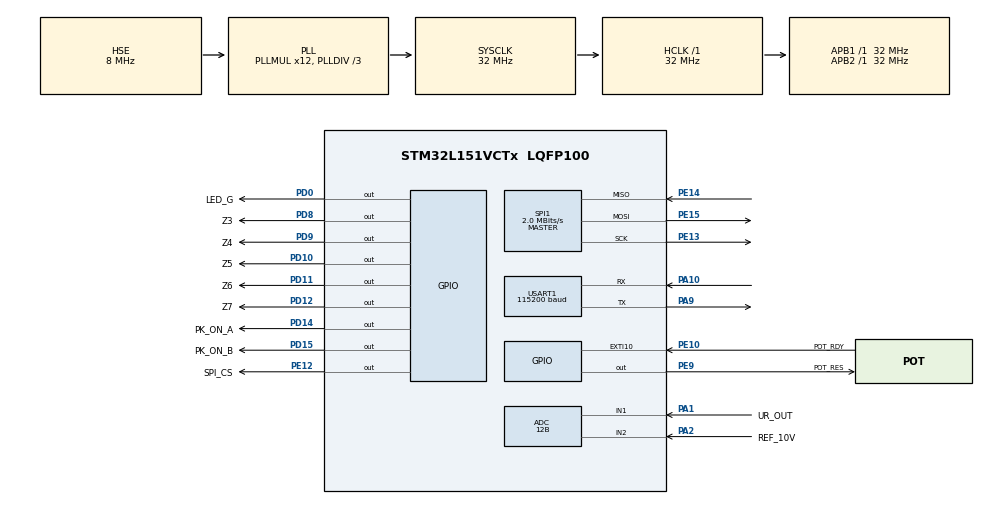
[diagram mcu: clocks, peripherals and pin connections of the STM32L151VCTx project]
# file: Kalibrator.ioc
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ADC.Channel-10\#ChannelRegularConversion=ADC_CHANNEL_2
ADC.Channel-5\#ChannelRegularConversion=ADC_CHANNEL_TEMPSENSOR
ADC.Channel-9\#ChannelRegularConversion=ADC_CHANNEL_1
ADC.ClockPrescaler=ADC_CLOCK_ASYNC_DIV4
ADC.ContinuousConvMode=ENABLE
ADC.DMAContinuousRequests=ENABLE
ADC.DataAlign=ADC_DATAALIGN_RIGHT
ADC.DiscontinuousConvMode=DISABLE
ADC.EOCSelection=ADC_EOC_SEQ_CONV
ADC.EnableAnalogWatchDog=false
ADC.ExternalTrigConv=ADC_SOFTWARE_START
ADC.ExternalTrigConvEdge=ADC_EXTERNALTRIGCONVEDGE_NONE
ADC.InjNumberOfConversion=0
ADC.LowPowerAutoPowerOff=ADC_AUTOPOWEROFF_DISABLE
ADC.LowPowerAutoWait=ADC_AUTOWAIT_DISABLE
ADC.NbrOfConversion=3
ADC.NbrOfConversionFlag=1
ADC.Rank-10\#ChannelRegularConversion=3
ADC.Rank-5\#ChannelRegularConversion=1
ADC.Rank-9\#ChannelRegularConversion=2
ADC.Resolution=ADC_RESOLUTION_12B
ADC.SamplingTime-10\#ChannelRegularConversion=ADC_SAMPLETIME_192CYCLES
ADC.SamplingTime-5\#ChannelRegularConversion=ADC_SAMPLETIME_192CYCLES
ADC.SamplingTime-9\#ChannelRegularConversion=ADC_SAMPLETIME_192CYCLES
ADC.ScanConvMode=ADC_SCAN_ENABLE
Dma.ADC.0.Direction=DMA_PERIPH_TO_MEMORY
Dma.ADC.0.Instance=DMA1_Channel1
Dma.ADC.0.MemDataAlignment=DMA_MDATAALIGN_HALFWORD
Dma.ADC.0.MemInc=DMA_MINC_ENABLE
Dma.ADC.0.Mode=DMA_CIRCULAR
Dma.ADC.0.PeriphDataAlignment=DMA_PDATAALIGN_HALFWORD
Dma.ADC.0.PeriphInc=DMA_PINC_DISABLE
Dma.ADC.0.Priority=DMA_PRIORITY_LOW
Dma.Request0=ADC
Dma.Request1=USART1_RX
Dma.Request2=USART1_TX
Dma.USART1_RX.1.Direction=DMA_PERIPH_TO_MEMORY
Dma.USART1_RX.1.Instance=DMA1_Channel5
Dma.USART1_RX.1.MemDataAlignment=DMA_MDATAALIGN_BYTE
Dma.USART1_RX.1.MemInc=DMA_MINC_ENABLE
Dma.USART1_RX.1.Mode=DMA_CIRCULAR
Dma.USART1_RX.1.PeriphDataAlignment=DMA_PDATAALIGN_BYTE
Dma.USART1_RX.1.PeriphInc=DMA_PINC_DISABLE
Dma.USART1_RX.1.Priority=DMA_PRIORITY_LOW
Dma.USART1_TX.2.Direction=DMA_MEMORY_TO_PERIPH
Dma.USART1_TX.2.Instance=DMA1_Channel4
Dma.USART1_TX.2.MemDataAlignment=DMA_MDATAALIGN_BYTE
Dma.USART1_TX.2.MemInc=DMA_MINC_ENABLE
Dma.USART1_TX.2.Mode=DMA_NORMAL
Dma.USART1_TX.2.PeriphDataAlignment=DMA_PDATAALIGN_BYTE
Dma.USART1_TX.2.PeriphInc=DMA_PINC_DISABLE
Dma.USART1_TX.2.Priority=DMA_PRIORITY_LOW
Mcu.Family=STM32L1
Mcu.Name=STM32L151VCTx
Mcu.Package=LQFP100
NVIC.DMA1_Channel1_IRQn=true\:0\:0\:false\:false\:true
NVIC.DMA1_Channel4_IRQn=true\:0\:0\:false\:false\:true
NVIC.DMA1_Channel5_IRQn=true\:0\:0\:false\:false\:true
NVIC.EXTI15_10_IRQn=true\:0\:0\:false\:false\:true
NVIC.PriorityGroup=NVIC_PRIORITYGROUP_4
NVIC.TIM10_IRQn=true\:0\:0\:false\:false\:true
PA1.GPIO_Label=UR_OUT
PA1.Mode=IN1
PA1.Signal=ADC_IN1
PA10.Mode=Asynchronous
PA10.Signal=USART1_RX
PA13.Mode=JTAG_5_pins
PA13.Signal=SYS_JTMS-SWDIO
PA14.Mode=JTAG_5_pins
PA14.Signal=SYS_JTCK-SWCLK
PA15.Mode=JTAG_5_pins
PA15.Signal=SYS_JTDI
PA2.GPIO_Label=REF_10V
PA2.Mode=IN2
PA2.Signal=ADC_IN2
PA9.Mode=Asynchronous
PA9.Signal=USART1_TX
PB3.Mode=JTAG_5_pins
PB3.Signal=SYS_JTDO-TRACESWO
PB4.Mode=JTAG_5_pins
PB4.Signal=SYS_JTRST
PD0.GPIO_Label=LED_G
PD0.Signal=GPIO_Output
PD10.GPIO_Label=Z5
PD10.Signal=GPIO_Output
PD11.GPIO_Label=Z6
PD11.Signal=GPIO_Output
PD12.GPIO_Label=Z7
PD12.Signal=GPIO_Output
PD14.GPIO_Label=PK_ON_A
PD14.Signal=GPIO_Output
PD15.GPIO_Label=PK_ON_B
PD15.Signal=GPIO_Output
PD8.GPIO_Label=Z3
PD8.Signal=GPIO_Output
PD9.GPIO_Label=Z4
PD9.Signal=GPIO_Output
PE10.GPIO_Label=POT_RDY
PE10.GPIO_ModeDefaultEXTI=GPIO_MODE_IT_FALLING
PE10.GPIO_PuPd=GPIO_NOPULL
PE10.Signal=GPXTI10
PE12.GPIO_Label=SPI_CS
PE12.Signal=GPIO_Output
PE13.Mode=Full_Duplex_Master
PE13.Signal=SPI1_SCK
PE14.Mode=Full_Duplex_Master
PE14.Signal=SPI1_MISO
PE15.Mode=Full_Duplex_Master
PE15.Signal=SPI1_MOSI
PE9.GPIO_Label=POT_RES
PE9.Signal=GPIO_Output
PH0-OSC_IN.Mode=HSE-External-Oscillator
PH0-OSC_IN.Signal=RCC_OSC_IN
PH1-OSC_OUT.Mode=HSE-External-Oscillator
PH1-OSC_OUT.Signal=RCC_OSC_OUT
ProjectManager.HeapSize=0x200
ProjectManager.StackSize=0x400
ProjectManager.TargetToolchain=SW4STM32
RCC.AHBFreq_Value=32000000
RCC.APB1Freq_Value=32000000
RCC.APB1TimFreq_Value=32000000
RCC.APB2Freq_Value=32000000
RCC.APB2TimFreq_Value=32000000
RCC.EnbaleCSS=true
RCC.HCLKFreq_Value=32000000
RCC.HSE_VALUE=8000000
RCC.HSI_VALUE=16000000
RCC.LSE_VALUE=32768
RCC.MSI_VALUE=2097000
RCC.PLLDIV=RCC_PLL_DIV3
RCC.PLLMUL=RCC_PLL_MUL12
RCC.PLLSourceVirtual=RCC_PLLSOURCE_HSE
RCC.SYSCLKFreq_VALUE=32000000
RCC.SYSCLKSource=RCC_SYSCLKSOURCE_PLLCLK
RCC.USBOutput=48000000
RCC.VCOOutputFreq_Value=96000000
SPI1.BaudRatePrescaler=SPI_BAUDRATEPRESCALER_16
SPI1.CalculateBaudRate=2.0 MBits/s
SPI1.Direction=SPI_DIRECTION_2LINES
SPI1.Mode=SPI_MODE_MASTER
SPI1.VirtualType=VM_MASTER
TIM10.Period=1600
TIM10.Prescaler=9999
USART1.BaudRate=115200
USART1.VirtualMode=VM_ASYNC
VP_ADC_TempSens_Input.Mode=IN-TempSens
VP_TIM10_VS_ClockSourceINT.Mode=Internal
board=Kalibrator

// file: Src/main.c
/**
  ******************************************************************************
  * File Name          : main.c
  * Description        : Main program body
  ******************************************************************************
  ** This notice applies to any and all portions of this file
  * that are not between comment pairs USER CODE BEGIN and
  * USER CODE END. Other portions of this file, whether
  * inserted by the user or by software development tools
  * are owned by their respective copyright owners.
  *
  * COPYRIGHT(c) 2017 STMicroelectronics
  *
  * Redistribution and use in source and binary forms, with or without modification,
  * are permitted provided that the following conditions are met:
  *   1. Redistributions of source code must retain the above copyright notice,
  *      this list of conditions and the following disclaimer.
  *   2. Redistributions in binary form must reproduce the above copyright notice,
  *      this list of conditions and the following disclaimer in the documentation
  *      and/or other materials provided with the distribution.
  *   3. Neither the name of STMicroelectronics nor the names of its contributors
  *      may be used to endorse or promote products derived from this software
  *      without specific prior written permission.
  *
  * THIS SOFTWARE IS PROVIDED BY THE COPYRIGHT HOLDERS AND CONTRIBUTORS "AS IS"
  * AND ANY EXPRESS OR IMPLIED WARRANTIES, INCLUDING, BUT NOT LIMITED TO, THE
  * IMPLIED WARRANTIES OF MERCHANTABILITY AND FITNESS FOR A PARTICULAR PURPOSE ARE
  * DISCLAIMED. IN NO EVENT SHALL THE COPYRIGHT HOLDER OR CONTRIBUTORS BE LIABLE
  * FOR ANY DIRECT, INDIRECT, INCIDENTAL, SPECIAL, EXEMPLARY, OR CONSEQUENTIAL
  * DAMAGES (INCLUDING, BUT NOT LIMITED TO, PROCUREMENT OF SUBSTITUTE GOODS OR
  * SERVICES; LOSS OF USE, DATA, OR PROFITS; OR BUSINESS INTERRUPTION) HOWEVER
  * CAUSED AND ON ANY THEORY OF LIABILITY, WHETHER IN CONTRACT, STRICT LIABILITY,
  * OR TORT (INCLUDING NEGLIGENCE OR OTHERWISE) ARISING IN ANY WAY OUT OF THE USE
  * OF THIS SOFTWARE, EVEN IF ADVISED OF THE POSSIBILITY OF SUCH DAMAGE.
  *
  ******************************************************************************
  */
#include "main.h"
#include "stm32l1xx_hal.h"
#include "adc.h"
#include "dma.h"
#include "spi.h"
#include "tim.h"
#include "usart.h"
#include "gpio.h"

/* USER CODE BEGIN Includes */
#include "stdbool.h"
#include "stdint.h"
#include "Modbus.h"
#include "AD5293.h"
/* USER CODE END Includes */

/* USER CODE BEGIN PV */
/* Private variables ---------------------------------------------------------*/

uint8_t SPI1_Data_Received;
uint8_t spi_message[2] ={0x04,0xAA} ;
uint8_t AD5293_SPI_Enable[2]= {0x18,0xFF};
uint8_t AD5293_SPI_Reset[2]={0x10,0xFB};
uint8_t Flaga_ADC = 0;
volatile uint8_t licznik_TIM=0;
volatile bool Flaga_TIM=false;
uint16_t PomiarADC[4];
float NapiecieADC[4];
float RealADC[4];

/* USER CODE END PV */

void SystemClock_Config(void);

/* USER CODE BEGIN PFP */
/* Private function prototypes -----------------------------------------------*/
void HAL_TIM_PeriodElapsedCallback(TIM_HandleTypeDef *htim){
 if(htim->Instance == TIM10){ // Je¿eli przerwanie pochodzi od timera 10
 HAL_GPIO_TogglePin(GPIOD,GPIO_PIN_0);
 if(Flaga_TIM==true)
 {
	if(licznik_TIM==20){
		Flaga_TIM=false;licznik_TIM=0;MX_TIM10_Init();}

	else
		licznik_TIM++;
 }
 }
}

void HAL_SPI_RxCpltCallback(SPI_HandleTypeDef *hspi) {

	HAL_SPI_Receive_IT(&hspi1, &SPI1_Data_Received, 8); // Ponowne wlaczenie nasluchiwania
}

/*
			if(UART1_Data_Received[3]==4)//Modbus_Register_Reset_Software)
			{
				spi_message[0]=0x10;
				spi_message[1]=0x00;

			}

			if(UART1_Data_Received[3]==6)//Modbus_Register_SetValue_Decimal)
			{

				//Set_Value=Set_Value + (Set_Value_f/100);
				//Result = (uint16_t)(1024*Set_Value-50.176)/9.951;
				/*if(Result>0xFF)
				{
					spi_message[0]=(Result>>8);
					spi_message[0]&=0x03;
					spi_message[0]|=0x04;
					spi_message[1]=(Result&0xFF);
				}
				else
				{
					spi_message[0]=0x00;
					spi_message[0]|=0x04;
					spi_message[1]=(Result&0xFF);
				}
			/*}

			if(UART1_Data_Received[3]==12)//Modbus_Register_GetValue)
			{
				spi_message[0]=0x08;
				spi_message[1]=0xFF;

			}
		}
	}
}*/

void HAL_GPIO_EXTI_Callback(uint16_t PIN)
{
	if(PIN==GPIO_PIN_10)
	{
		Flaga_ADC=1;
	}
}

/* USER CODE END PFP */

int main(void)
{

  /* MCU Configuration----------------------------------------------------------*/

  /* Reset of all peripherals, Initializes the Flash interface and the Systick. */
  HAL_Init();

  /* Configure the system clock */
  SystemClock_Config();

  /* Initialize all configured peripherals */
  MX_GPIO_Init();
  MX_DMA_Init();
  MX_SPI1_Init();
  MX_USART1_UART_Init();
  MX_TIM10_Init();
  MX_ADC_Init();

  /* USER CODE BEGIN 2 */
  	HAL_UART_Receive_DMA(&huart1,&Modbus_Buffor_Temp,1);
	HAL_TIM_Base_Start_IT(&htim10);
	HAL_ADC_Start_DMA(&hadc, PomiarADC, 3);
  /* USER CODE END 2 */

  /* Infinite loop */
  /* USER CODE BEGIN WHILE */

	//AD5293_Init();

	  HAL_GPIO_WritePin(GPIOE, GPIO_PIN_12, GPIO_PIN_RESET);
	  HAL_Delay(50);
	  HAL_SPI_Transmit(&hspi1, AD5293_SPI_Enable, 2, 0);
	  HAL_Delay(50);
	  HAL_GPIO_WritePin(GPIOE, GPIO_PIN_12, GPIO_PIN_SET);
	  HAL_Delay(50);
	  HAL_GPIO_WritePin(GPIOE, GPIO_PIN_12, GPIO_PIN_RESET);
	  HAL_Delay(50);
	  spi_message[0]=0x04;spi_message[1]=0x00;
	  HAL_SPI_Transmit(&hspi1, spi_message, 2, 0);
	  HAL_Delay(50);
	  HAL_GPIO_WritePin(GPIOE, GPIO_PIN_12, GPIO_PIN_SET);

	HAL_GPIO_WritePin(GPIOE,POT_RES_Pin,GPIO_PIN_RESET);
	HAL_GPIO_WritePin(GPIOE, GPIO_PIN_12, GPIO_PIN_SET);

	  while (1)
	  {

		Modbus_Main();
		Kalibrator_zadanie();

		PomiarADC[0];
		volatile uint8_t Data[2];
		Data[0]=0x07;
		Data[1]=0xEF;

		/*HAL_GPIO_WritePin(GPIOE, GPIO_PIN_12, GPIO_PIN_RESET); //CS
		HAL_Delay(50);
		HAL_SPI_Transmit(&hspi1,Data,2,100);
		HAL_Delay(50);
		HAL_GPIO_WritePin(GPIOE, GPIO_PIN_12, GPIO_PIN_SET);*/
		uint16_t* p1;

		NapiecieADC[1] = PomiarADC[1]*0.00080566;//(3.3 * PomiarADC[1]) / 4096; //Ref10V
		RealADC[1] = NapiecieADC[1] * 3.4271844;//(NapiecieADC[1] * 141.2) / 41.2;
		p1=&RealADC[1];
		Modbus_Register1[18]=*p1;
		Modbus_Register1[19]=*(p1+1);
		NapiecieADC[2] = PomiarADC[2]*0.00080566;
		RealADC[2] = NapiecieADC[2] * 3.4271844;
		p1=&RealADC[2];
		Modbus_Register1[20]=*p1;
		Modbus_Register1[21]=*(p1+1);

  /* USER CODE END WHILE */

	  }

}

/** System Clock Configuration
*/
void SystemClock_Config(void)
{

  RCC_OscInitTypeDef RCC_OscInitStruct;
  RCC_ClkInitTypeDef RCC_ClkInitStruct;

    /**Configure the main internal regulator output voltage
    */
  __HAL_PWR_VOLTAGESCALING_CONFIG(PWR_REGULATOR_VOLTAGE_SCALE1);

    /**Initializes the CPU, AHB and APB busses clocks
    */
  RCC_OscInitStruct.OscillatorType = RCC_OSCILLATORTYPE_HSI|RCC_OSCILLATORTYPE_HSE;
  RCC_OscInitStruct.HSEState = RCC_HSE_ON;
  RCC_OscInitStruct.HSIState = RCC_HSI_ON;
  RCC_OscInitStruct.HSICalibrationValue = 16;
  RCC_OscInitStruct.PLL.PLLState = RCC_PLL_ON;
  RCC_OscInitStruct.PLL.PLLSource = RCC_PLLSOURCE_HSE;
  RCC_OscInitStruct.PLL.PLLMUL = RCC_PLL_MUL12;
  RCC_OscInitStruct.PLL.PLLDIV = RCC_PLL_DIV3;
  if (HAL_RCC_OscConfig(&RCC_OscInitStruct) != HAL_OK)
  {
    _Error_Handler(__FILE__, __LINE__);
  }

    /**Initializes the CPU, AHB and APB busses clocks
    */
  RCC_ClkInitStruct.ClockType = RCC_CLOCKTYPE_HCLK|RCC_CLOCKTYPE_SYSCLK
                              |RCC_CLOCKTYPE_PCLK1|RCC_CLOCKTYPE_PCLK2;
  RCC_ClkInitStruct.SYSCLKSource = RCC_SYSCLKSOURCE_PLLCLK;
  RCC_ClkInitStruct.AHBCLKDivider = RCC_SYSCLK_DIV1;
  RCC_ClkInitStruct.APB1CLKDivider = RCC_HCLK_DIV1;
  RCC_ClkInitStruct.APB2CLKDivider = RCC_HCLK_DIV1;

  if (HAL_RCC_ClockConfig(&RCC_ClkInitStruct, FLASH_LATENCY_1) != HAL_OK)
  {
    _Error_Handler(__FILE__, __LINE__);
  }

    /**Enables the Clock Security System
    */
  HAL_RCC_EnableCSS();

    /**Configure the Systick interrupt time
    */
  HAL_SYSTICK_Config(HAL_RCC_GetHCLKFreq()/1000);

    /**Configure the Systick
    */
  HAL_SYSTICK_CLKSourceConfig(SYSTICK_CLKSOURCE_HCLK);

  /* SysTick_IRQn interrupt configuration */
  HAL_NVIC_SetPriority(SysTick_IRQn, 0, 0);
}

void _Error_Handler(char * file, int line)
{
  while(1)
  {
  }
}

/************************ (C) COPYRIGHT STMicroelectronics *****END OF FILE****/
